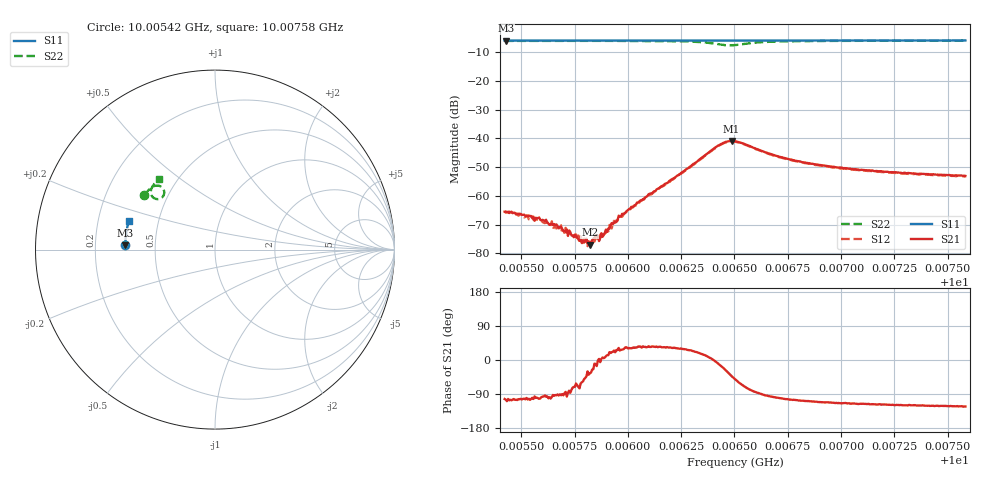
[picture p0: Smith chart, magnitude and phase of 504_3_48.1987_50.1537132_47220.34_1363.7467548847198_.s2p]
#  HZ  S  RI  R  50.00
! Rohde & Schwarz Vector Network Analyzer
! Rohde-Schwarz,ZNB20-2Port,1311601062101988,3.16
! Created: UTC 3/20/2024, 11:58:42 AM
! freq[Hz]  re:S11  im:S11  re:S21  im:S21  re:S12  im:S12  re:S22  im:S22
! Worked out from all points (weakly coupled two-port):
!   401 points, 10.00542 GHz to 10.00758 GHz, reference 50 ohm
!   highest |S21| = -40.93 dB at 10.00649 GHz (marker M1); lowest = -77.0 dB at 10.00582 GHz (marker M2)
!   lowest |S11| = -6.0 dB at 10.00543 GHz (marker M3), VSWR 3.01, Z = 16.6 + j1.09 ohm
!   |S11| at or under -10 dB: nowhere
!   |S22| runs from -7.7 to -6.0 dB; largest |S21 - S12| = 0.00055
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1.0005422e10  -0.5005 0.0243  -0.000118 -0.000516  -0.00011 -0.000518  -0.3937 0.3018
1.0005427e10  -0.5003 0.0246  -0.000137 -0.000515  -4.65e-05 -0.000507  -0.3934 0.3022
1.0005465e10  -0.5002 0.0271  -0.000114 -0.000494  -9.91e-05 -0.000523  -0.392 0.3043
1.0005605e10  -0.4999 0.0362  -4.03e-05 -0.000369  -2.06e-05 -0.000339  -0.3858 0.3128
1.0005632e10  -0.4998 0.038  -4.5e-05 -0.000308  -3.08e-05 -0.000348  -0.3845 0.3145
1.000566e10  -0.4999 0.0397  -1.27e-05 -0.000306  6.15e-06 -0.000285  -0.3832 0.316
1.0005676e10  -0.4998 0.0408  -1.75e-05 -0.00027  -1.29e-05 -0.000261  -0.3827 0.3171
1.0005784e10  -0.4994 0.0479  7.85e-05 -0.000129  8.45e-05 -0.000146  -0.377 0.3238
1.0005822e10  -0.4993 0.0502  0.000116 -8.04e-05  0.000116 -6.83e-05  -0.3749 0.3262
1.0005849e10  -0.499 0.0522  0.000203 -3.82e-05  0.000179 -3.44e-05  -0.3735 0.328
1.0005876e10  -0.4989 0.0539  0.000223 1.03e-05  0.000232 7.47e-06  -0.372 0.3294
1.0005897e10  -0.4988 0.0553  0.000254 4.6e-05  0.000217 7.14e-05  -0.3706 0.3306
1.0005924e10  -0.4986 0.0569  0.000313 0.000118  0.000245 0.000116  -0.3689 0.3328
1.0005968e10  -0.4984 0.0598  0.000386 0.000195  0.000369 0.000227  -0.3662 0.3355
1.0006146e10  -0.4973 0.0713  0.0011 0.000764  0.00107 0.000837  -0.3506 0.3479
1.0006416e10  -0.4943 0.0886  0.00714 -0.000752  0.00699 -0.000354  -0.2859 0.3333
1.0006486e10  -0.4935 0.0926  0.00663 -0.00607  0.00682 -0.00555  -0.299 0.2876
1.0006503e10  -0.4934 0.0934  0.00562 -0.00688  0.0059 -0.00645  -0.3099 0.2825
1.0006703e10  -0.4918 0.1062  -0.000806 -0.00481  -0.000574 -0.00475  -0.3578 0.3259
1.0006865e10  -0.49 0.1166  -0.00121 -0.00342  -0.00102 -0.00338  -0.3509 0.3475
1.0007227e10  -0.4849 0.1395  -0.00122 -0.00226  -0.00107 -0.00229  -0.3315 0.3739
1.0007584e10  -0.4787 0.1617  -0.0012 -0.00187  -0.00109 -0.00187  -0.313 0.3927
